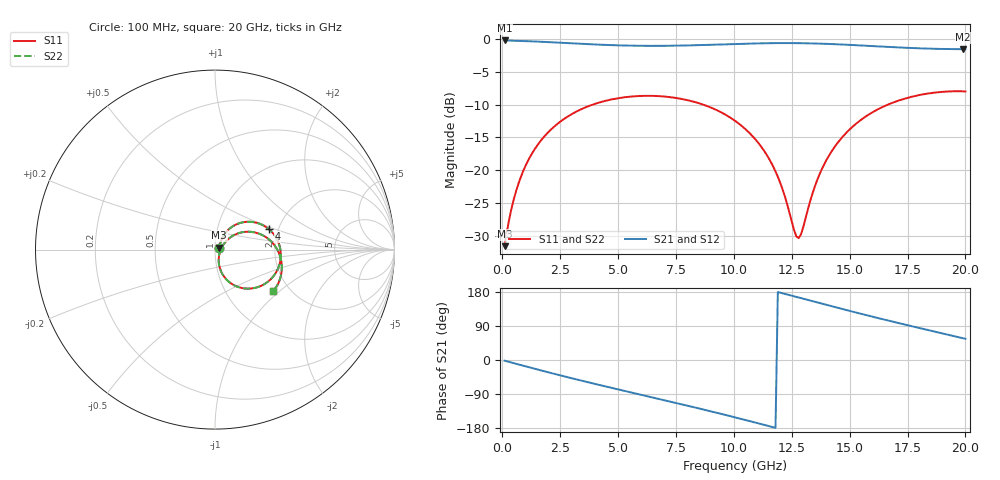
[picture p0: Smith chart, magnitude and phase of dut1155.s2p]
! Touchstone file exported from HFSS 2026.1.0
!  File:  C:/ffzhzh/LocalFiles/Ansys_Project_Files/temp_train_TSV_RDL_1155_1783311501_39728.aedt
!  Generated:  12:29:28 PM Jul  6, 2026
!  Design:  TSV_RDL
!  Project:  temp_train_TSV_RDL_1155_1783311501_39728
! Variables:
!  h_bsmrdl = 3.35um
!  h_ox = 20um
!  h_rdl = 5um
!  h_sub = 91.73um
!  h_tmrdl = 5.76um
!  h_tsv = 91.73um
!  h_via = 3um
!  l_bsmrdl = 585.01um
!  l_sub = 4973.31um
!  l_tmrdl = 673.58um
!  m_sub = 200um
!  pitch = 35.88um
!  r_tsv = 4.81um
!  s_tmrdl = 10um
!  w_bsmrdl = 14.11um
!  w_sub = 500um
!  w_tmrdl = 27.21um
!  x_tsv_center1 = 687.185um
!  x_tsv_center2 = 1286.305um
!  x_tsv_center3 = 1987.095um
!  x_tsv_center4 = 2586.215um
!  x_tsv_center5 = 3287.005um
!  x_tsv_center6 = 3886.125um
# GHz S MA R 50.000000
! Terminal data exported
! Port[1] = TM_RDL1_1_T1
! Port[2] = TM_RDL5_1_T1
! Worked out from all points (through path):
!   200 points, 100 MHz to 20 GHz, reference 50 ohm
!   highest |S21| = -0.20 dB at 100 MHz (marker M1); lowest = -1.5 dB at 19.9 GHz (marker M2)
!   group delay of S21, straight-line fit = 42.2 ps
!   lowest |S11| = -31.6 dB at 100 MHz (marker M3), VSWR 1.05, Z = 52.4 + j1.22 ohm
!   |S11| at or under -10 dB: start of sweep to 3.905 GHz; 8.674 GHz to 16.65 GHz (7.979 GHz wide, 63 % of centre)
!   |S22| runs from -31.6 to -8.0 dB; largest |S21 - S12| = 1.6e-14
!   S11 on the Smith chart (normalised r, x): 100 MHz: 1.05, +0.02; 4 GHz: 1.78, +0.46; 20 GHz: 1.66, -0.91
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0.1  0.02627 26.3  0.9767 -1.8  0.9767 -1.8  0.02627 26.3
! Gamma 0 0 0 0
! Port Impedance 50 0 50 0
0.3  0.04227 47.7  0.9737 -5.2  0.9737 -5.2  0.04227 47.7
0.6  0.06953 57.1  0.9704 -10.1  0.9704 -10.1  0.06953 57.1
1.2  0.1263 56.8  0.9628 -19.9  0.9628 -19.9  0.1263 56.8
2.2  0.2118 45.4  0.9446 -35.8  0.9446 -35.8  0.2118 45.4
3.5  0.2965 27.8  0.9187 -55.7  0.9187 -55.7  0.2965 27.8
4  0.3204 21.0  0.9099 -63.1  0.9099 -63.1  0.3204 21.0
5.4  0.362 2.1  0.8928 -83.3  0.8928 -83.3  0.362 2.1
6.8  0.3668 -16.5  0.8886 -103.3  0.8886 -103.3  0.3668 -16.6
8.5  0.3237 -39.1  0.8996 -127.9  0.8996 -127.9  0.3237 -39.2
10.1  0.2346 -60.1  0.9183 -152.1  0.9183 -152.1  0.2346 -60.3
11.6  0.1151 -75.0  0.9315 -175.8  0.9315 -175.8  0.1151 -75.3
12.1  0.07169 -73.0  0.9329 176.1  0.9329 176.1  0.07152 -73.5
12.7  0.03121 -31.7  0.932 166.4  0.932 166.4  0.03061 -32.3
12.9  0.03229 0.4  0.931 163.2  0.931 163.2  0.03164 0.6
13.4  0.06661 35.0  0.9273 155.1  0.9273 155.1  0.06623 35.4
14  0.1194 38.1  0.9202 145.4  0.9202 145.4  0.1192 38.4
14.7  0.1799 32.5  0.9092 134.3  0.9092 134.3  0.1797 32.6
16.7  0.3188 7.7  0.8711 103.6  0.8711 103.6  0.3187 7.7
18.2  0.3796 -12.0  0.8482 81.7  0.8482 81.7  0.3795 -12.0
19.9  0.3995 -34.0  0.8383 57.4  0.8383 57.4  0.3995 -34.0
20  0.399 -35.3  0.8384 55.9  0.8384 55.9  0.3989 -35.3
